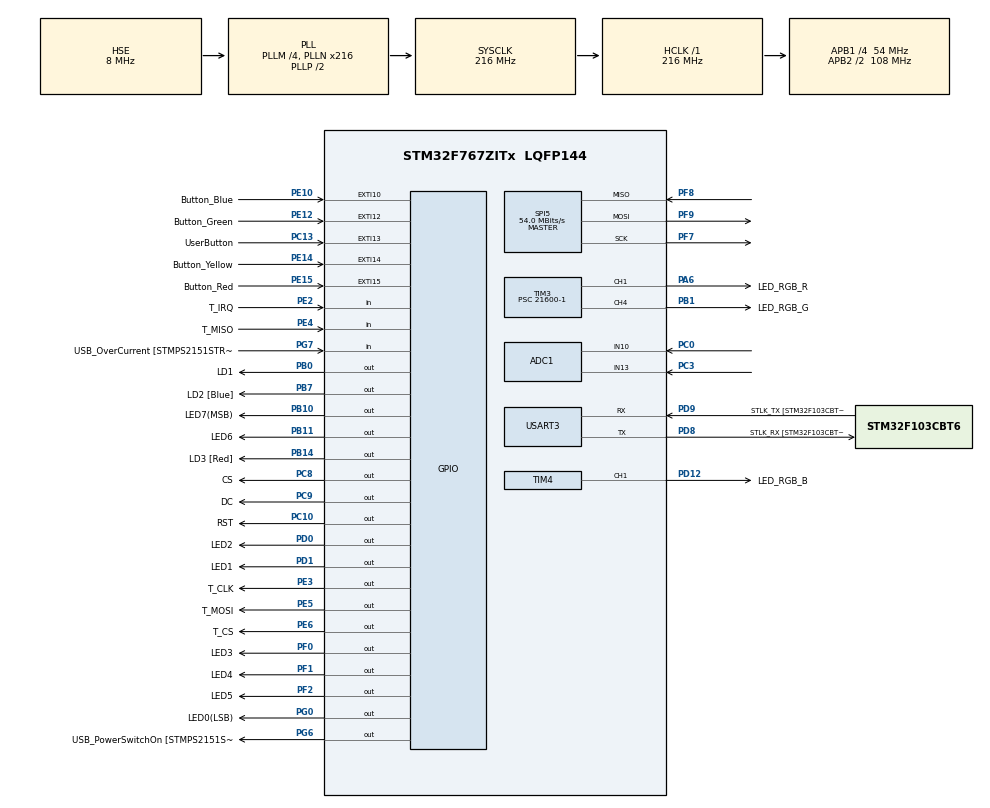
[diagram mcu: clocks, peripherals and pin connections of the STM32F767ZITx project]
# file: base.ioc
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ADC1.Channel-0\#ChannelRegularConversion=ADC_CHANNEL_10
ADC1.Channel-1\#ChannelRegularConversion=ADC_CHANNEL_13
ADC1.ClockPrescaler=ADC_CLOCK_SYNC_PCLK_DIV8
ADC1.ContinuousConvMode=ENABLE
ADC1.DMAContinuousRequests=ENABLE
ADC1.DiscontinuousConvMode=DISABLE
ADC1.EOCSelection=ADC_EOC_SEQ_CONV
ADC1.NbrOfConversion=2
ADC1.NbrOfConversionFlag=1
ADC1.Rank-0\#ChannelRegularConversion=1
ADC1.Rank-1\#ChannelRegularConversion=2
ADC1.SamplingTime-0\#ChannelRegularConversion=ADC_SAMPLETIME_480CYCLES
ADC1.SamplingTime-1\#ChannelRegularConversion=ADC_SAMPLETIME_480CYCLES
ADC1.master=1
CORTEX_M7.ART_ACCLERATOR_ENABLE=1
CORTEX_M7.CPU_DCache=Enabled
CORTEX_M7.CPU_ICache=Enabled
CORTEX_M7.PREFETCH_ENABLE=1
Dma.ADC1.0.Direction=DMA_PERIPH_TO_MEMORY
Dma.ADC1.0.FIFOMode=DMA_FIFOMODE_DISABLE
Dma.ADC1.0.Instance=DMA2_Stream0
Dma.ADC1.0.MemDataAlignment=DMA_MDATAALIGN_WORD
Dma.ADC1.0.MemInc=DMA_MINC_ENABLE
Dma.ADC1.0.Mode=DMA_CIRCULAR
Dma.ADC1.0.PeriphDataAlignment=DMA_PDATAALIGN_WORD
Dma.ADC1.0.PeriphInc=DMA_PINC_DISABLE
Dma.ADC1.0.Priority=DMA_PRIORITY_LOW
Dma.Request0=ADC1
Mcu.Family=STM32F7
Mcu.Name=STM32F767ZITx
Mcu.Package=LQFP144
NVIC.DMA2_Stream0_IRQn=true\:0\:0\:false\:false\:true\:false\:true\:true
NVIC.EXTI15_10_IRQn=true\:1\:0\:true\:false\:true\:true\:true\:true
NVIC.PriorityGroup=NVIC_PRIORITYGROUP_4
NVIC.TIM2_IRQn=true\:0\:0\:false\:false\:true\:true\:true\:true
NVIC.TIM5_IRQn=true\:0\:0\:false\:false\:true\:true\:true\:true
PA1.GPIO_Label=RMII_REF_CLK [LAN8742A-CZ-TR_REFCLK0]
PA1.Signal=ETH_REF_CLK
PA13.GPIO_Label=TMS
PA13.Mode=Serial_Wire
PA13.Signal=SYS_JTMS-SWDIO
PA14.GPIO_Label=TCK
PA14.Mode=Serial_Wire
PA14.Signal=SYS_JTCK-SWCLK
PA2.GPIO_Label=RMII_MDIO [LAN8742A-CZ-TR_MDIO]
PA2.Signal=ETH_MDIO
PA6.GPIO_Label=LED_RGB_R
PA6.GPIO_Speed=GPIO_SPEED_FREQ_VERY_HIGH
PA6.Signal=S_TIM3_CH1
PA7.GPIO_Label=RMII_CRS_DV [LAN8742A-CZ-TR_CRS_DV]
PA7.Signal=ETH_CRS_DV
PB0.GPIO_Label=LD1
PB0.Signal=GPIO_Output
PB1.GPIO_Label=LED_RGB_G
PB1.GPIO_Speed=GPIO_SPEED_FREQ_VERY_HIGH
PB1.Signal=S_TIM3_CH4
PB10.GPIO_Label=LED7(MSB)
PB10.Signal=GPIO_Output
PB11.GPIO_Label=LED6
PB11.Signal=GPIO_Output
PB13.GPIO_Label=RMII_TXD1 [LAN8742A-CZ-TR_TXD1]
PB13.Signal=ETH_TXD1
PB14.GPIO_Label=LD3 [Red]
PB14.Signal=GPIO_Output
PB3.GPIO_Label=SWO
PB3.Signal=SYS_JTDO-SWO
PB7.GPIO_Label=LD2 [Blue]
PB7.Signal=GPIO_Output
PC0.Signal=ADCx_IN10
PC1.GPIO_Label=RMII_MDC [LAN8742A-CZ-TR_MDC]
PC1.Signal=ETH_MDC
PC10.GPIO_Label=RST
PC10.GPIO_Speed=GPIO_SPEED_FREQ_VERY_HIGH
PC10.Signal=GPIO_Output
PC13.GPIO_Label=UserButton
PC13.Signal=GPXTI13
PC14/OSC32_IN.Mode=LSE-External-Oscillator
PC14/OSC32_IN.Signal=RCC_OSC32_IN
PC15/OSC32_OUT.Mode=LSE-External-Oscillator
PC15/OSC32_OUT.Signal=RCC_OSC32_OUT
PC3.Signal=ADCx_IN13
PC4.GPIO_Label=RMII_RXD0 [LAN8742A-CZ-TR_RXD0]
PC4.Signal=ETH_RXD0
PC5.GPIO_Label=RMII_RXD1 [LAN8742A-CZ-TR_RXD1]
PC5.Signal=ETH_RXD1
PC8.GPIO_Label=CS
PC8.GPIO_Speed=GPIO_SPEED_FREQ_VERY_HIGH
PC8.Signal=GPIO_Output
PC9.GPIO_Label=DC
PC9.GPIO_Speed=GPIO_SPEED_FREQ_VERY_HIGH
PC9.Signal=GPIO_Output
PD0.GPIO_Label=LED2
PD0.Signal=GPIO_Output
PD1.GPIO_Label=LED1
PD1.Signal=GPIO_Output
PD12.GPIO_Label=LED_RGB_B
PD12.GPIO_Speed=GPIO_SPEED_FREQ_VERY_HIGH
PD12.Signal=S_TIM4_CH1
PD8.GPIO_Label=STLK_RX [STM32F103CBT6_PA3]
PD8.Mode=Asynchronous
PD8.Signal=USART3_TX
PD9.GPIO_Label=STLK_TX [STM32F103CBT6_PA2]
PD9.Mode=Asynchronous
PD9.Signal=USART3_RX
PE10.GPIO_Label=Button_Blue
PE10.GPIO_ModeDefaultEXTI=GPIO_MODE_IT_FALLING
PE10.Signal=GPXTI10
PE12.GPIO_Label=Button_Green
PE12.GPIO_ModeDefaultEXTI=GPIO_MODE_IT_FALLING
PE12.Signal=GPXTI12
PE14.GPIO_Label=Button_Yellow
PE14.GPIO_ModeDefaultEXTI=GPIO_MODE_IT_FALLING
PE14.Signal=GPXTI14
PE15.GPIO_Label=Button_Red
PE15.GPIO_ModeDefaultEXTI=GPIO_MODE_IT_FALLING
PE15.Signal=GPXTI15
PE2.GPIO_Label=T_IRQ
PE2.Signal=GPIO_Input
PE3.GPIO_Label=T_CLK
PE3.GPIO_Speed=GPIO_SPEED_FREQ_VERY_HIGH
PE3.Signal=GPIO_Output
PE4.GPIO_Label=T_MISO
PE4.Signal=GPIO_Input
PE5.GPIO_Label=T_MOSI
PE5.GPIO_Speed=GPIO_SPEED_FREQ_VERY_HIGH
PE5.Signal=GPIO_Output
PE6.GPIO_Label=T_CS
PE6.GPIO_Speed=GPIO_SPEED_FREQ_VERY_HIGH
PE6.Signal=GPIO_Output
PF0.GPIO_Label=LED3
PF0.Signal=GPIO_Output
PF1.GPIO_Label=LED4
PF1.Signal=GPIO_Output
PF2.GPIO_Label=LED5
PF2.Signal=GPIO_Output
PF7.Mode=Full_Duplex_Master
PF7.Signal=SPI5_SCK
PF8.Mode=Full_Duplex_Master
PF8.Signal=SPI5_MISO
PF9.Mode=Full_Duplex_Master
PF9.Signal=SPI5_MOSI
PG0.GPIO_Label=LED0(LSB)
PG0.Signal=GPIO_Output
PG11.GPIO_Label=RMII_TX_EN [LAN8742A-CZ-TR_TXEN]
PG11.Signal=ETH_TX_EN
PG13.GPIO_Label=RMII_TXD0 [LAN8742A-CZ-TR_TXD0]
PG13.Signal=ETH_TXD0
PG6.GPIO_Label=USB_PowerSwitchOn [STMPS2151STR_EN]
PG6.Signal=GPIO_Output
PG7.GPIO_Label=USB_OverCurrent [STMPS2151STR_FAULT]
PG7.Signal=GPIO_Input
PH0/OSC_IN.GPIO_Label=MCO [STM32F103CBT6_PA8]
PH0/OSC_IN.Mode=HSE-External-Clock-Source
PH0/OSC_IN.Signal=RCC_OSC_IN
PH1/OSC_OUT.Mode=HSE-External-Clock-Source
PH1/OSC_OUT.Signal=RCC_OSC_OUT
ProjectManager.HeapSize=0x200
ProjectManager.StackSize=0x400
ProjectManager.TargetToolchain=STM32CubeIDE
RCC.48MHZClocksFreq_Value=24000000
RCC.AHBFreq_Value=216000000
RCC.APB1CLKDivider=RCC_HCLK_DIV4
RCC.APB1Freq_Value=54000000
RCC.APB1TimFreq_Value=108000000
RCC.APB2CLKDivider=RCC_HCLK_DIV2
RCC.APB2Freq_Value=108000000
RCC.APB2TimFreq_Value=216000000
RCC.CortexFreq_Value=216000000
RCC.HCLKFreq_Value=216000000
RCC.HSE_VALUE=8000000
RCC.HSI_VALUE=16000000
RCC.PLLM=4
RCC.PLLMUL=RCC_PLL_MUL9
RCC.PLLN=216
RCC.PLLQ=9
RCC.PLLSourceVirtual=RCC_PLLSOURCE_HSE
RCC.PRESCALERUSB=RCC_USBCLKSOURCE_PLL_DIV1_5
RCC.SYSCLKFreq_VALUE=216000000
RCC.SYSCLKSource=RCC_SYSCLKSOURCE_PLLCLK
RCC.SYSCLKSourceVirtual=RCC_SYSCLKSOURCE_PLLCLK
RCC.USBFreq_Value=48000000
RCC.VCOOutputFreq_Value=432000000
SH.ADCx_IN10.0=ADC1_IN10,IN10
SH.ADCx_IN13.0=ADC1_IN13,IN13
SH.S_TIM3_CH1.0=TIM3_CH1,PWM Generation1 CH1
SH.S_TIM3_CH4.0=TIM3_CH4,PWM Generation4 CH4
SH.S_TIM4_CH1.0=TIM4_CH1,PWM Generation1 CH1
SPI5.CalculateBaudRate=54.0 MBits/s
SPI5.DataSize=SPI_DATASIZE_8BIT
SPI5.Direction=SPI_DIRECTION_2LINES
SPI5.Mode=SPI_MODE_MASTER
SPI5.NSSPMode=SPI_NSS_PULSE_DISABLE
SPI5.VirtualType=VM_MASTER
TIM1.ClockDivision=TIM_CLOCKDIVISION_DIV2
TIM1.Period=0
TIM1.Prescaler=10000-1
TIM2.AutoReloadPreload=TIM_AUTORELOAD_PRELOAD_ENABLE
TIM2.Period=10000-1
TIM2.Prescaler=21600-1
TIM3.AutoReloadPreload=TIM_AUTORELOAD_PRELOAD_ENABLE
TIM3.Channel-PWM\ Generation1\ CH1=TIM_CHANNEL_1
TIM3.Channel-PWM\ Generation4\ CH4=TIM_CHANNEL_4
TIM3.Period=10-1
TIM3.Prescaler=21600-1
TIM4.AutoReloadPreload=TIM_AUTORELOAD_PRELOAD_ENABLE
TIM4.Channel-PWM\ Generation1\ CH1=TIM_CHANNEL_1
TIM4.Period=10-1
TIM4.Prescaler=21600-1
TIM5.AutoReloadPreload=TIM_AUTORELOAD_PRELOAD_ENABLE
TIM5.Period=5000-1
TIM5.Prescaler=21600-1
USART3.VirtualMode-Asynchronous=VM_ASYNC
VP_RNG_VS_RNG.Mode=RNG_Activate
VP_TIM1_VS_ClockSourceINT.Mode=Internal
VP_TIM2_VS_ClockSourceINT.Mode=Internal
VP_TIM3_VS_ClockSourceINT.Mode=Internal
VP_TIM4_VS_ClockSourceINT.Mode=Internal
VP_TIM5_VS_ClockSourceINT.Mode=Internal
board=NUCLEO-F767ZI

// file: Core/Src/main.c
/* USER CODE BEGIN Header */
/**
  ******************************************************************************
  * @file           : main.c
  * @brief          : Main program body
  ******************************************************************************
  * @attention
  *
  * Copyright (c) 2024 STMicroelectronics.
  * All rights reserved.
  *
  * This software is licensed under terms that can be found in the LICENSE file
  * in the root directory of this software component.
  * If no LICENSE file comes with this software, it is provided AS-IS.
  *
  ******************************************************************************
  */
/* USER CODE END Header */
#include "main.h"
#include "adc.h"
#include "dma.h"
#include "rng.h"
#include "spi.h"
#include "tim.h"
#include "usart.h"
#include "gpio.h"

/* USER CODE BEGIN Includes */
#include "stdio.h"

#include "ILI9341_Touchscreen.h"
#include "ILI9341_STM32_Driver.h"
#include "ILI9341_GFX.h"

#include "snow_tiger.h"
#include "easy_exam.h"
/* USER CODE END Includes */

/* USER CODE BEGIN PV */
float r = 1;
float g = 0;
float b = 0;
/* USER CODE END PV */

void SystemClock_Config(void);
/* USER CODE BEGIN PFP */
// button interrupt handler
void EE_ButtonRed_IRQ(){}
void EE_ButtonYellow_IRQ(){}
void EE_ButtonGreen_IRQ(){}
void EE_ButtonBlue_IRQ(){}
void EE_UserButton_IRQ(){}

// ADC custom complete callback (run after sampling)
void EE_Custom_ADC_CpltCallback(uint32_t adc[NUM_CHANNELS]){
	printf("1: %lu, 2: %lu\r\n", adc[0], adc[1]);
}

// TIM1, TIM2 custom callback (TIM1 = 1s, TIM2 = 0.5s)
void EE_TIM2_PeriodCallback(){
	printf("TIM2\r\n");
}
void EE_TIM5_PeriodCallback(){
	printf("TIM5\r\n");
}
/* USER CODE END PFP */

/* USER CODE BEGIN 0 */

/*	do not delete this!!! It is for printf
	do note that printf in GCC's default stdout is line-buffered
	please make sure to end with '\n' or flush it */
int _write(int file, char *ptr, int len){
	HAL_UART_Transmit(&huart3, (uint8_t*) ptr, len, HAL_MAX_DELAY);
	return len;
}
/* USER CODE END 0 */

int main(void)
{

  /* Enable the CPU Cache */

  /* Enable I-Cache---------------------------------------------------------*/
  SCB_EnableICache();

  /* Enable D-Cache---------------------------------------------------------*/
  SCB_EnableDCache();

  /* MCU Configuration--------------------------------------------------------*/

  /* Reset of all peripherals, Initializes the Flash interface and the Systick. */
  HAL_Init();

  /* Configure the system clock */
  SystemClock_Config();

  /* Initialize all configured peripherals */
  MX_GPIO_Init();
  MX_DMA_Init();
  MX_USART3_UART_Init();
  MX_SPI5_Init();
  MX_TIM1_Init();
  MX_RNG_Init();
  MX_ADC1_Init();
  MX_TIM2_Init();
  MX_TIM5_Init();
  MX_TIM3_Init();
  MX_TIM4_Init();
  /* USER CODE BEGIN 2 */
  ILI9341_Init();
  uint8_t LED_state = 0b00110011;

  // uncomment in case of using pwm, default: 1000Hz
//  EE_Set_TIM_Freq(&htim3, 100);
//  EE_Set_TIM_Freq(&htim4, 100);
  	 uint16_t PWM_Range = 10; // 10000 / Hz
	HAL_TIM_PWM_Start(&htim3, TIM_CHANNEL_1);
	HAL_TIM_PWM_Start(&htim3, TIM_CHANNEL_4);
	HAL_TIM_PWM_Start(&htim4, TIM_CHANNEL_1);

  // uncomment in case of using adc
//  EE_ADC_Start(&hadc1);

  //uncomment in case of using timer
  HAL_TIM_Base_Start_IT(&htim2);
  HAL_TIM_Base_Start_IT(&htim5);
  /* USER CODE END 2 */

  /* Infinite loop */
  while (1)
  {

    /* USER CODE BEGIN 3 */
	  htim3.Instance -> CCR1 = (PWM_Range * r) - 1;
	  htim3.Instance -> CCR4 = (PWM_Range * g) - 1;
	  htim4.Instance -> CCR1 = (PWM_Range * b) - 1;
//	  fflush(stdout);
	  EE_Set_LED(LED_state);
	  LED_state <<= 1;
//	  count += 1.23;
	  HAL_Delay(2000);
  }
  /* USER CODE END 3 */
}

void SystemClock_Config(void)
{
  RCC_OscInitTypeDef RCC_OscInitStruct = {0};
  RCC_ClkInitTypeDef RCC_ClkInitStruct = {0};

  /** Configure LSE Drive Capability
  */
  HAL_PWR_EnableBkUpAccess();

  /** Configure the main internal regulator output voltage
  */
  __HAL_RCC_PWR_CLK_ENABLE();
  __HAL_PWR_VOLTAGESCALING_CONFIG(PWR_REGULATOR_VOLTAGE_SCALE1);

  /** Initializes the RCC Oscillators according to the specified parameters
  * in the RCC_OscInitTypeDef structure.
  */
  RCC_OscInitStruct.OscillatorType = RCC_OSCILLATORTYPE_HSE;
  RCC_OscInitStruct.HSEState = RCC_HSE_BYPASS;
  RCC_OscInitStruct.PLL.PLLState = RCC_PLL_ON;
  RCC_OscInitStruct.PLL.PLLSource = RCC_PLLSOURCE_HSE;
  RCC_OscInitStruct.PLL.PLLM = 4;
  RCC_OscInitStruct.PLL.PLLN = 216;
  RCC_OscInitStruct.PLL.PLLP = RCC_PLLP_DIV2;
  RCC_OscInitStruct.PLL.PLLQ = 9;
  RCC_OscInitStruct.PLL.PLLR = 2;
  if (HAL_RCC_OscConfig(&RCC_OscInitStruct) != HAL_OK)
  {
    Error_Handler();
  }

  /** Activate the Over-Drive mode
  */
  if (HAL_PWREx_EnableOverDrive() != HAL_OK)
  {
    Error_Handler();
  }

  /** Initializes the CPU, AHB and APB buses clocks
  */
  RCC_ClkInitStruct.ClockType = RCC_CLOCKTYPE_HCLK|RCC_CLOCKTYPE_SYSCLK
                              |RCC_CLOCKTYPE_PCLK1|RCC_CLOCKTYPE_PCLK2;
  RCC_ClkInitStruct.SYSCLKSource = RCC_SYSCLKSOURCE_PLLCLK;
  RCC_ClkInitStruct.AHBCLKDivider = RCC_SYSCLK_DIV1;
  RCC_ClkInitStruct.APB1CLKDivider = RCC_HCLK_DIV4;
  RCC_ClkInitStruct.APB2CLKDivider = RCC_HCLK_DIV2;

  if (HAL_RCC_ClockConfig(&RCC_ClkInitStruct, FLASH_LATENCY_7) != HAL_OK)
  {
    Error_Handler();
  }
}

/* USER CODE BEGIN 4 */
void HAL_GPIO_EXTI_Callback(uint16_t GPIO_Pin){
	EE_Button_IRQHandler(GPIO_Pin);
}

void HAL_ADC_ConvCpltCallback(ADC_HandleTypeDef* hadc){
	EE_ADC_CpltCallback(hadc);
}

void HAL_TIM_PeriodElapsedCallback(TIM_HandleTypeDef *htim){
	EE_TIM_PeriodElapsedCallback(htim);
}
/* USER CODE END 4 */

void Error_Handler(void)
{
  __disable_irq();
  while (1)
  {
  }
}
